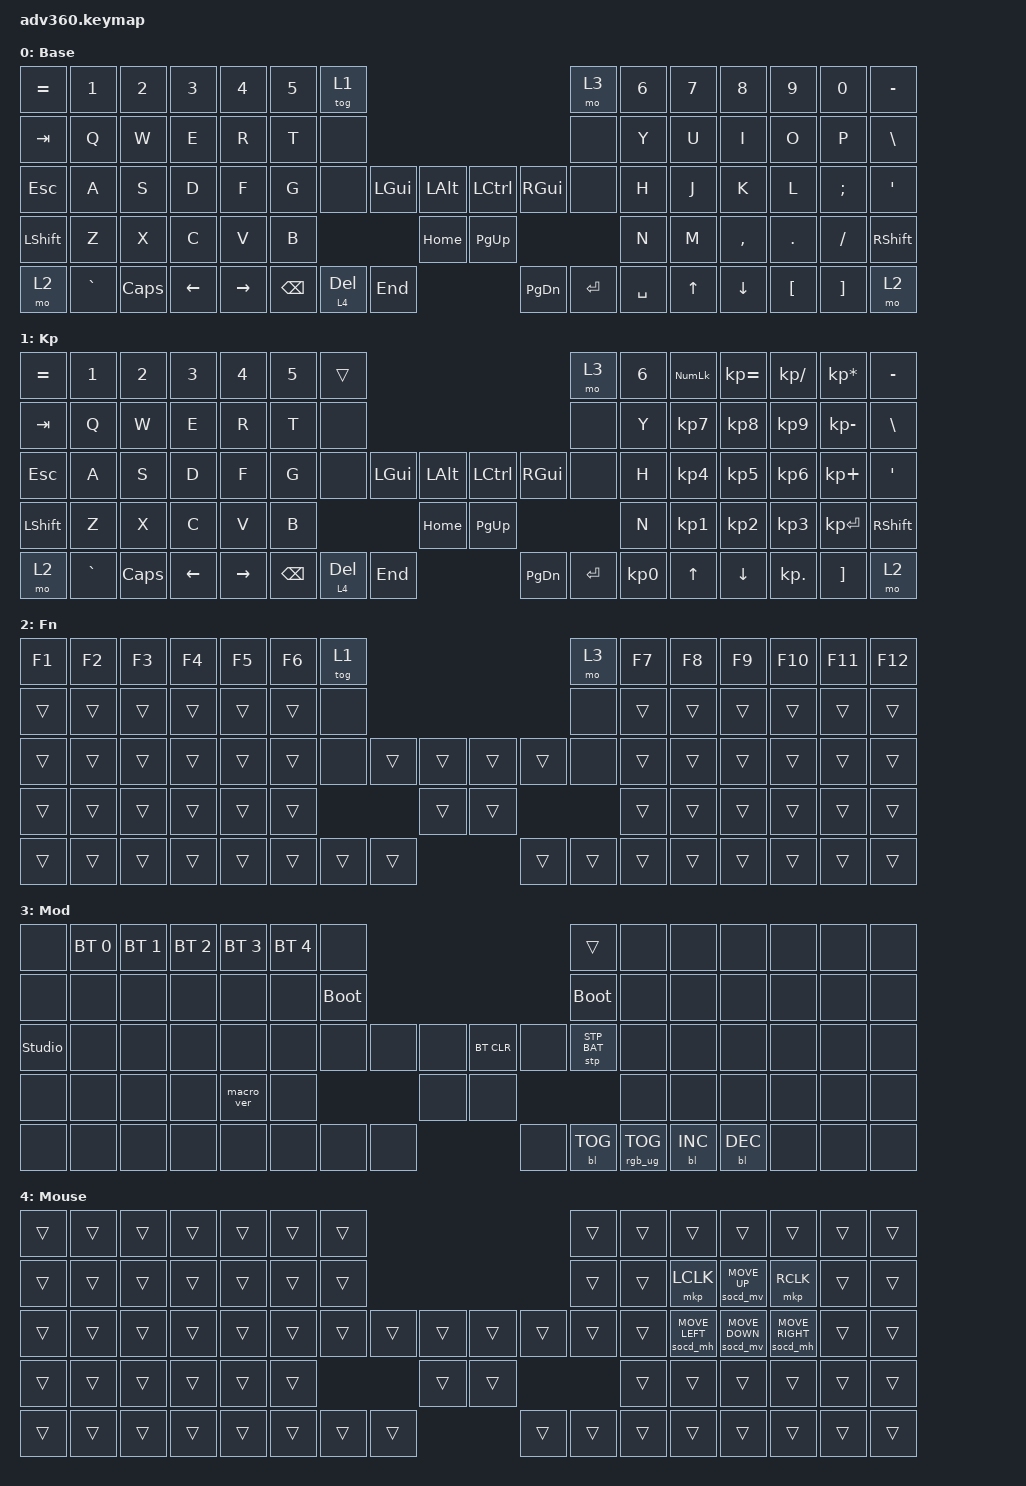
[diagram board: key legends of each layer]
#include <behaviors.dtsi>
#include <dt-bindings/zmk/keys.h>
#include <dt-bindings/zmk/bt.h>
#include <dt-bindings/zmk/rgb.h>
#include <dt-bindings/zmk/stp.h>
#include <dt-bindings/zmk/backlight.h>
#define ZMK_POINTING_DEFAULT_MOVE_VAL 1500
#include <dt-bindings/zmk/pointing.h>

/ {
    behaviors {
      #include "macros.dtsi"
      #include "version.dtsi"

      hm: homerow_mods {
          compatible = "zmk,behavior-hold-tap";
          label = "HOMEROW_MODS";
          #binding-cells = <2>;
          tapping-term-ms = <200>;
          quick_tap_ms = <175>;
          flavor = "tap-preferred";
          bindings = <&kp>, <&kp>;
      };

      // SOCD cleaning (snap-tap) for mouse movement: without it, opposite
      // directions sum to zero in &mmv's accumulator and the cursor freezes.
      // Last-input-priority with resume; one instance per opposing pair.
      socd_mh: socd_mouse_horizontal {
          compatible = "zmk,behavior-socd";
          #binding-cells = <1>;
          bindings = <&mmv>;
      };

      socd_mv: socd_mouse_vertical {
          compatible = "zmk,behavior-socd";
          #binding-cells = <1>;
          bindings = <&mmv>;
      };
    };

  keymap {
    compatible = "zmk,keymap";

    default_layer {
      display-name = "Base";
      bindings = <
        &kp EQUAL &kp N1    &kp N2   &kp N3   &kp N4     &kp N5 &tog 1                                                           &mo 3 &kp N6 &kp N7 &kp N8    &kp N9   &kp N0   &kp MINUS
        &kp TAB   &kp Q     &kp W    &kp E    &kp R      &kp T  &none                                                            &none &kp Y  &kp U  &kp I     &kp O    &kp P    &kp BSLH
        &kp ESC   &kp A     &kp S    &kp D    &kp F      &kp G  &none           &kp LGUI  &kp LALT &kp LCTRL &kp RGUI            &none &kp H  &kp J  &kp K     &kp L    &kp SEMI &kp SQT
        &kp LSHFT &kp Z     &kp X    &kp C    &kp V      &kp B                            &kp HOME &kp PG_UP                           &kp N  &kp M  &kp COMMA &kp DOT  &kp FSLH &kp RSHFT
        &mo 2     &kp GRAVE &kp CAPS &kp LEFT &kp RIGHT                &kp BSPC &lt 4 DEL &kp END  &kp PG_DN &kp ENTER &kp SPACE              &kp UP &kp DOWN  &kp LBKT &kp RBKT &mo 2
      >;
    };
    keypad {
      display-name = "Kp";
      bindings = <
        &kp EQUAL &kp N1    &kp N2   &kp N3   &kp N4     &kp N5 &trans                                                           &mo 3 &kp N6 &kp KP_NUM &kp KP_EQUAL &kp KP_DIVIDE &kp KP_MULTIPLY &kp MINUS
        &kp TAB   &kp Q     &kp W    &kp E    &kp R      &kp T  &none                                                            &none &kp Y  &kp KP_N7  &kp KP_N8    &kp KP_N9     &kp KP_MINUS    &kp BSLH
        &kp ESC   &kp A     &kp S    &kp D    &kp F      &kp G  &none           &kp LGUI  &kp LALT &kp LCTRL &kp RGUI            &none &kp H  &kp KP_N4  &kp KP_N5    &kp KP_N6     &kp KP_PLUS     &kp SQT
        &kp LSHFT &kp Z     &kp X    &kp C    &kp V      &kp B                            &kp HOME &kp PG_UP                           &kp N  &kp KP_N1  &kp KP_N2    &kp KP_N3     &kp KP_ENTER    &kp RSHFT
        &mo 2     &kp GRAVE &kp CAPS &kp LEFT &kp RIGHT                &kp BSPC &lt 4 DEL &kp END  &kp PG_DN &kp ENTER &kp KP_N0              &kp UP     &kp DOWN     &kp KP_DOT    &kp RBKT        &mo 2
      >;
    };
    fn {
      display-name = "Fn";
      bindings = <
        &kp F1 &kp F2 &kp F3 &kp F4 &kp F5 &kp F6 &tog 1                                           &mo 3 &kp F7 &kp F8 &kp F9 &kp F10 &kp F11 &kp F12
        &trans &trans &trans &trans &trans &trans  &none                                           &none &trans &trans &trans &trans  &trans  &trans
        &trans &trans &trans &trans &trans &trans  &none        &trans &trans &trans &trans        &none &trans &trans &trans &trans  &trans  &trans
        &trans &trans &trans &trans &trans &trans                      &trans &trans                     &trans &trans &trans &trans  &trans  &trans
        &trans &trans &trans &trans &trans               &trans &trans &trans &trans &trans &trans              &trans &trans &trans  &trans  &trans
      >;
    };
    mod {
      display-name = "Mod";
      bindings = <
        &none &bt BT_SEL 0 &bt BT_SEL 1 &bt BT_SEL 2 &bt BT_SEL 3 &bt BT_SEL 4 &none                                                                     &trans                 &none        &none        &none        &none &none &none
        &none &none        &none        &none        &none        &none        &bootloader                                                               &bootloader            &none        &none        &none        &none &none &none
        &studio_unlock &none        &none        &none        &none        &none        &none                   &none &none &bt BT_CLR &none                      &stp STP_BAT &none        &none        &none        &none &none &none
        &none &none        &none        &none        &macro_ver   &none                                      &none &none                                                        &none        &none        &none        &none &none &none
        &none &none        &none        &none        &none                                       &none &none &none &none      &bl BL_TOG &rgb_ug RGB_TOG                                     &bl BL_INC   &bl BL_DEC   &none &none &none
      >;
    };
    mouse {
      display-name = "Mouse";
      bindings = <
        &trans &trans &trans &trans &trans &trans &trans                                                  &trans &trans &trans         &trans         &trans    &trans &trans
        &trans &trans &trans &trans &trans &trans &trans                                                  &trans &trans &mkp LCLK          &socd_mv MOVE_UP   &mkp RCLK &trans &trans
        &trans &trans &trans &trans &trans &trans &trans        &trans &trans &trans &trans               &trans &trans &socd_mh MOVE_LEFT &socd_mv MOVE_DOWN &socd_mh MOVE_RIGHT &trans &trans
        &trans &trans &trans &trans &trans &trans                      &trans &trans                             &trans &trans &trans  &trans         &trans    &trans
        &trans &trans &trans &trans &trans               &trans &trans &trans &trans &trans &trans               &trans &trans &trans  &trans         &trans
      >;
    };

    extra2 { 
      display-name = "Purple";    
      status = "reserved";
    };

    extra3 { 
      display-name = "Cyan";    
      status = "reserved";
    };

    extra4 {
      display-name = "Yellow";
      status = "reserved";
    };
  };
};

&mmv {
    time-to-max-speed-ms = <100>;
    // exponent 2 = speed scales with (t/T)^2: near-still on short taps,
    // full ZMK_POINTING_DEFAULT_MOVE_VAL speed once held past 100ms
    acceleration-exponent = <2>;
    delay-ms = <0>;
};
